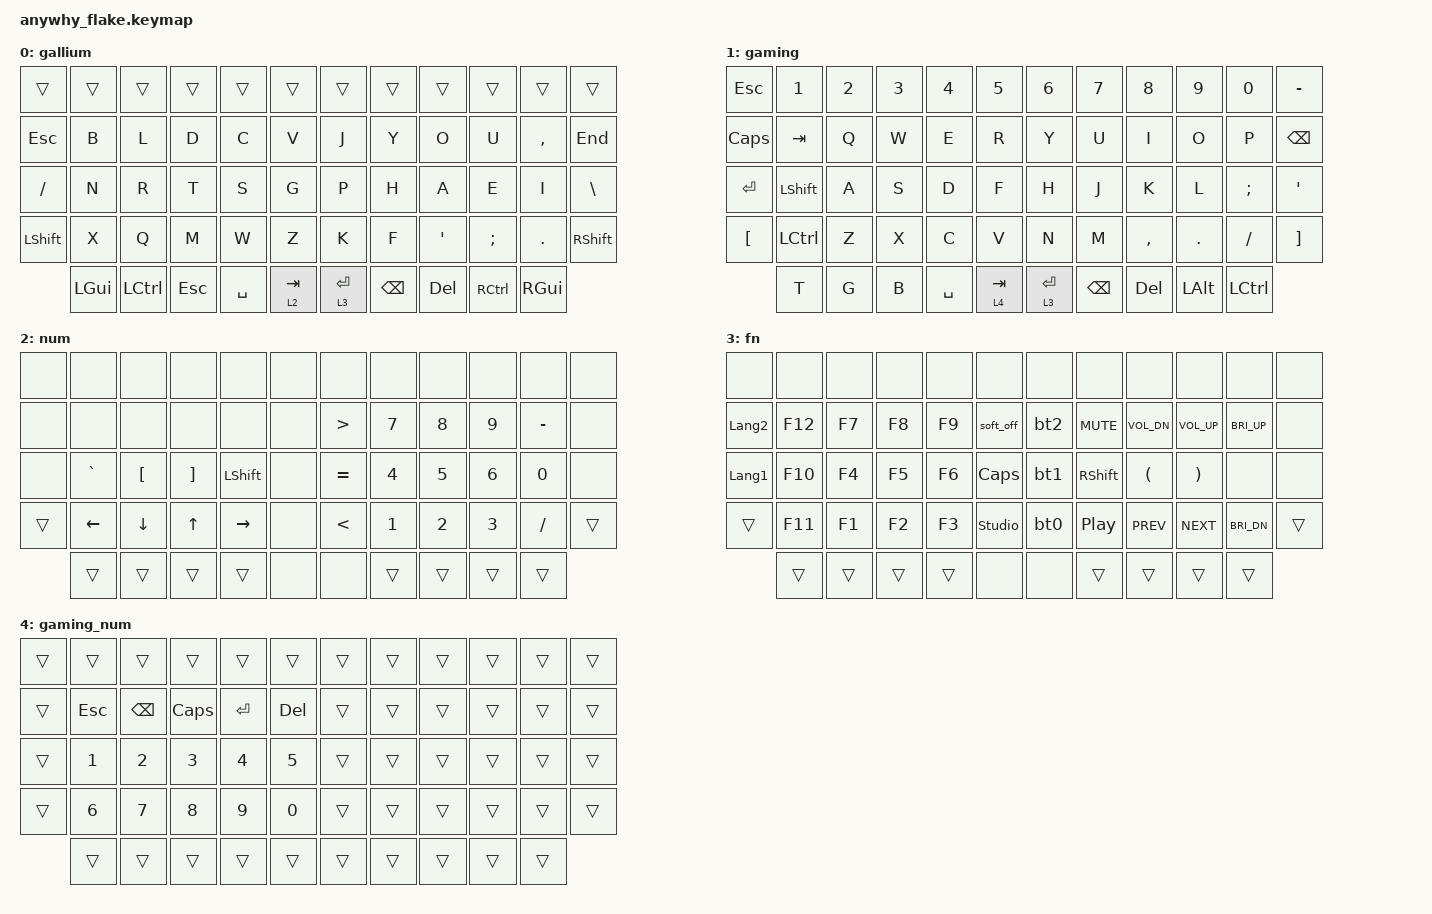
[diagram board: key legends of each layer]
#include <behaviors.dtsi>
#include <dt-bindings/zmk/bt.h>
#include <dt-bindings/zmk/keys.h>

/ {
    combos {
        compatible = "zmk,combos";

        bt_sel_3 {
            bindings = <&bt3>;
            key-positions = <42 30>;
            layers = <3>;
        };

        bt_sel_4 {
            bindings = <&bt4>;
            key-positions = <30 18>;
            layers = <3>;
        };

        enter_gaming {
            bindings = <&sl 1>;
            key-positions = <26 15 28>;
            layers = <3>;
        };

        leave_gaming {
            bindings = <&sl 0>;
            key-positions = <31 20 33>;
            layers = <4>;
        };

        grave {
            bindings = <&kp GRAVE>;
            key-positions = <21 22>;
            layers = <0>;
        };
    };

    macros {
        bt_clr_0: bt_clr_0 {
            compatible = "zmk,behavior-macro";
            #binding-cells = <0>;
            bindings = <&bt BT_SEL 0 &bt BT_CLR>;
            label = "BT_CLR_0";
        };

        bt_clr_1: bt_clr_1 {
            compatible = "zmk,behavior-macro";
            #binding-cells = <0>;
            bindings = <&bt BT_SEL 1 &bt BT_CLR>;
            label = "BT_CLR_1";
        };

        bt_clr_2: bt_clr_2 {
            compatible = "zmk,behavior-macro";
            #binding-cells = <0>;
            bindings = <&bt BT_SEL 2 &bt BT_CLR>;
            label = "BT_CLR_2";
        };

        bt_clr_3: bt_clr_3 {
            compatible = "zmk,behavior-macro";
            #binding-cells = <0>;
            bindings = <&bt BT_SEL 3 &bt BT_CLR>;
            label = "BT_CLR_3";
        };

        bt_clr_4: bt_clr_4 {
            compatible = "zmk,behavior-macro";
            #binding-cells = <0>;
            bindings = <&bt BT_SEL 4 &bt BT_CLR>;
            label = "BT_CLR_4";
        };
    };

    behaviors {
        bt0: bt0 {
            compatible = "zmk,behavior-mod-morph";
            label = "BT0";
            bindings = <&bt BT_SEL 0>, <&bt_clr_0>;

            #binding-cells = <0>;
            mods = <(MOD_LSFT|MOD_RSFT)>;
        };

        bt1: bt1 {
            compatible = "zmk,behavior-mod-morph";
            label = "BT1";
            bindings = <&bt BT_SEL 1>, <&bt_clr_1>;

            #binding-cells = <0>;
            mods = <(MOD_LSFT|MOD_RSFT)>;
        };

        bt2: bt2 {
            compatible = "zmk,behavior-mod-morph";
            label = "BT2";
            bindings = <&bt BT_SEL 2>, <&bt_clr_2>;

            #binding-cells = <0>;
            mods = <(MOD_LSFT|MOD_RSFT)>;
        };

        bt3: bt3 {
            compatible = "zmk,behavior-mod-morph";
            label = "BT3";
            bindings = <&bt BT_SEL 3>, <&bt_clr_3>;

            #binding-cells = <0>;
            mods = <(MOD_LSFT|MOD_RSFT)>;
        };

        bt4: bt4 {
            compatible = "zmk,behavior-mod-morph";
            label = "BT4";
            bindings = <&bt BT_SEL 4>, <&bt_clr_4>;

            #binding-cells = <0>;
            mods = <(MOD_LSFT|MOD_RSFT)>;
        };
    };

    keymap {
        compatible = "zmk,keymap";

        gallium {
            bindings = <
&trans          &trans        &trans            &trans      &trans     &trans       &trans       &trans         &trans            &trans             &trans         &trans
&kp ESCAPE      &kp B         &kp L             &kp D       &kp C      &kp V        &kp J        &kp Y          &kp O             &kp U              &kp COMMA      &kp END
&kp SLASH       &kp N         &kp R             &kp T       &kp S      &kp G        &kp P        &kp H          &kp A             &kp E              &kp I          &kp BACKSLASH
&kp LEFT_SHIFT  &kp X         &kp Q             &kp M       &kp W      &kp Z        &kp K        &kp F          &kp SINGLE_QUOTE  &kp SEMICOLON      &kp PERIOD     &kp RIGHT_SHIFT
                &kp LEFT_GUI  &kp LEFT_CONTROL  &kp ESCAPE  &kp SPACE  &lt 2 TAB    &lt 3 ENTER  &kp BACKSPACE  &kp DELETE        &kp RIGHT_CONTROL  &kp RIGHT_GUI
            >;
        };

        gaming {
            bindings = <
&kp ESC    &kp N1     &kp N2  &kp N3  &kp N4     &kp N5       &kp N6       &kp N7         &kp N8      &kp N9    &kp N0     &kp MINUS
&kp CAPS   &kp TAB    &kp Q   &kp W   &kp E      &kp R        &kp Y        &kp U          &kp I       &kp O     &kp P      &kp BSPC
&kp ENTER  &kp LSHFT  &kp A   &kp S   &kp D      &kp F        &kp H        &kp J          &kp K       &kp L     &kp SEMI   &kp APOS
&kp LBKT   &kp LCTRL  &kp Z   &kp X   &kp C      &kp V        &kp N        &kp M          &kp COMMA   &kp DOT   &kp FSLH   &kp RBKT
           &kp T      &kp G   &kp B   &kp SPACE  &lt 4 TAB    &lt 3 ENTER  &kp BACKSPACE  &kp DELETE  &kp LALT  &kp LCTRL
            >;
        };

        num {
            bindings = <
&none   &none      &none             &none              &none      &none    &none             &none   &none   &none   &none      &none
&none   &none      &none             &none              &none      &none    &kp GREATER_THAN  &kp N7  &kp N8  &kp N9  &kp MINUS  &none
&none   &kp GRAVE  &kp LEFT_BRACKET  &kp RIGHT_BRACKET  &kp LSHFT  &none    &kp EQUAL         &kp N4  &kp N5  &kp N6  &kp N0     &none
&trans  &kp LEFT   &kp DOWN          &kp UP             &kp RIGHT  &none    &kp LESS_THAN     &kp N1  &kp N2  &kp N3  &kp SLASH  &trans
        &trans     &trans            &trans             &trans     &none    &none             &trans  &trans  &trans  &trans
            >;
        };

        fn {
            bindings = <
&none           &none    &none   &none   &none   &none             &none  &none       &none                 &none                  &none         &none
&kp LANGUAGE_2  &kp F12  &kp F7  &kp F8  &kp F9  &soft_off         &bt2   &kp K_MUTE  &kp C_VOL_DN          &kp C_VOL_UP           &kp C_BRI_UP  &none
&kp LANGUAGE_1  &kp F10  &kp F4  &kp F5  &kp F6  &kp CAPS          &bt1   &kp RSHFT   &kp LEFT_PARENTHESIS  &kp RIGHT_PARENTHESIS  &none         &none
&trans          &kp F11  &kp F1  &kp F2  &kp F3  &studio_unlock    &bt0   &kp C_PP    &kp C_PREV            &kp C_NEXT             &kp C_BRI_DN  &trans
                &trans   &trans  &trans  &trans  &none             &none  &trans      &trans                &trans                 &trans
            >;
        };

        gaming_num {
            bindings = <
&trans  &trans   &trans    &trans    &trans     &trans     &trans  &trans  &trans  &trans  &trans  &trans
&trans  &kp ESC  &kp BSPC  &kp CAPS  &kp ENTER  &kp DEL    &trans  &trans  &trans  &trans  &trans  &trans
&trans  &kp N1   &kp N2    &kp N3    &kp N4     &kp N5     &trans  &trans  &trans  &trans  &trans  &trans
&trans  &kp N6   &kp N7    &kp N8    &kp N9     &kp N0     &trans  &trans  &trans  &trans  &trans  &trans
        &trans   &trans    &trans    &trans     &trans     &trans  &trans  &trans  &trans  &trans
            >;
        };
    };
};
